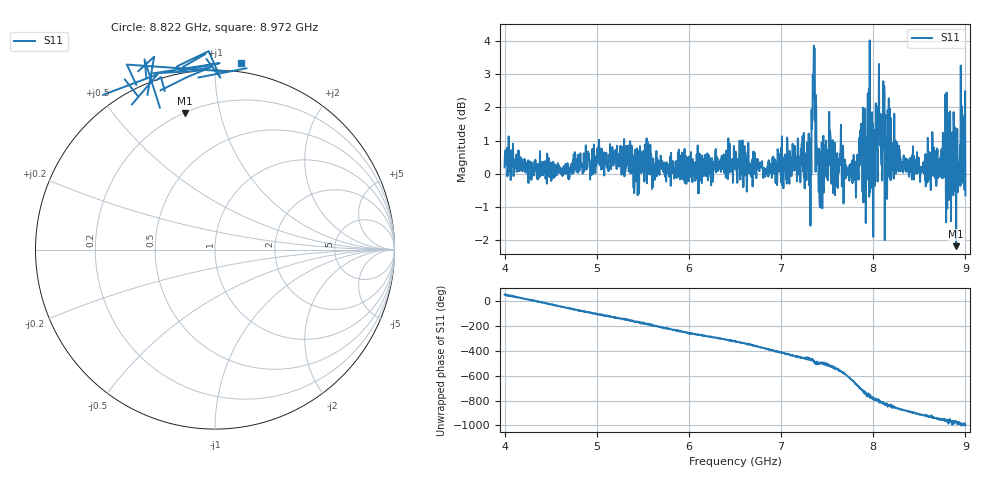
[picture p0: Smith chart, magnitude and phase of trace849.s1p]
! Created with skrf 1.8.0 (http://scikit-rf.org).
# Hz S RI R 50.0
!freq ReS11 ImS11
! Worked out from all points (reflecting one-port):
!   1601 points, 4 GHz to 9 GHz, reference 50 ohm
!   lowest |S11| = -2.2 dB at 8.9 GHz (marker M1), VSWR 8.01, Z = 10.2 + j39.1 ohm
!   phase of S11 starts at 52 deg and turns -1047 deg over the sweep
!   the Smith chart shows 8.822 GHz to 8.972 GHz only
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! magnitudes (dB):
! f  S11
! 4 GHz  0.2
! 4.625 GHz  0.0
! 5.25 GHz  0.2
! 5.875 GHz  0.3
! 6.5 GHz  0.2
! 7.125 GHz  0.9
! 7.303 GHz  -0.3
! 7.356 GHz  3.9
! 7.369 GHz  2.1
! 7.4 GHz  0.3
! 7.425 GHz  -0.1
! 7.538 GHz  1.0
! 7.578 GHz  0.3
! 7.647 GHz  0.9
! 7.75 GHz  0.0
! 7.891 GHz  0.2
! 7.909 GHz  0.4
! 7.962 GHz  4.0
! 8 GHz  -1.9
! 8.05 GHz  0.8
! 8.15 GHz  -0.8
! 8.181 GHz  0.9
! 8.375 GHz  0.2
! 8.772 GHz  0.5
! 8.9 GHz  -2.2
! 8.919 GHz  -0.2
! 8.972 GHz  0.4
! 9 GHz  -0.7
